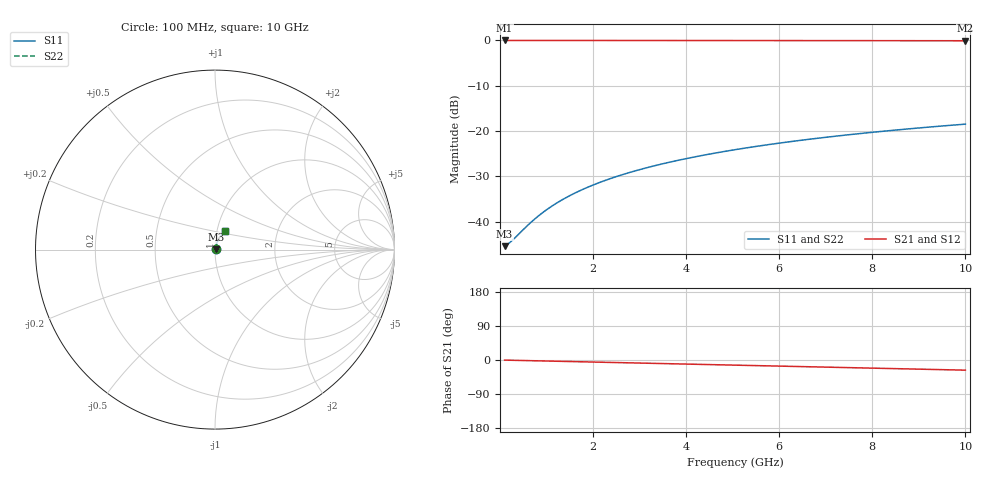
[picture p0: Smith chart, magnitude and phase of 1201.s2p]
# Hz S RI R 50.00
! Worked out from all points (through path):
!   100 points, 100 MHz to 10 GHz, reference 50 ohm
!   highest |S21| = -0.05 dB at 100 MHz (marker M1); lowest = -0.1 dB at 10 GHz (marker M2)
!   group delay of S21, straight-line fit = 7.45 ps
!   lowest |S11| = -45.4 dB at 100 MHz (marker M3), VSWR 1.01, Z = 50.5 + j0.123 ohm
!   |S11| at or under -10 dB: start of sweep to end of sweep
!   |S22| runs from -45.4 to -18.5 dB; largest |S21 - S12| = 0
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1e8  0.00521 0.00121  0.9948 -0.00467  0.9948 -0.00467  0.00521 0.00121
2e8  0.00526 0.00243  0.9947 -0.00934  0.9947 -0.00934  0.00526 0.00243
3e8  0.00532 0.00364  0.9946 -0.014  0.9946 -0.014  0.00532 0.00364
5e8  0.00544 0.00606  0.9944 -0.0233  0.9944 -0.0233  0.00544 0.00606
7e8  0.00561 0.00848  0.9941 -0.0327  0.9941 -0.0327  0.00561 0.00848
8e8  0.0057 0.00969  0.9939 -0.0373  0.9939 -0.0373  0.0057 0.00969
1e9  0.00593 0.0121  0.9934 -0.0467  0.9934 -0.0467  0.00593 0.0121
1.2e9  0.0062 0.0145  0.9929 -0.056  0.9929 -0.056  0.0062 0.0145
1.4e9  0.00651 0.0169  0.9923 -0.0653  0.9923 -0.0653  0.00651 0.0169
1.6e9  0.00687 0.0193  0.9915 -0.0746  0.9915 -0.0746  0.00687 0.0193
1.8e9  0.00727 0.0217  0.9907 -0.0839  0.9907 -0.0839  0.00727 0.0217
2.1e9  0.00795 0.0253  0.9893 -0.0978  0.9893 -0.0978  0.00795 0.0253
2.5e9  0.00901 0.03  0.9872 -0.1164  0.9872 -0.1164  0.00901 0.03
2.9e9  0.0103 0.0347  0.9846 -0.1349  0.9846 -0.1349  0.0103 0.0347
3.4e9  0.012 0.0405  0.9809 -0.1579  0.9809 -0.1579  0.012 0.0405
4.2e9  0.0155 0.0495  0.9738 -0.1944  0.9738 -0.1944  0.0155 0.0495
5.1e9  0.0201 0.0593  0.9641 -0.2352  0.9641 -0.2352  0.0201 0.0593
5.9e9  0.0249 0.0677  0.954 -0.2709  0.954 -0.2709  0.0249 0.0677
6.7e9  0.0304 0.0756  0.9424 -0.3062  0.9424 -0.3062  0.0304 0.0756
7.5e9  0.0363 0.0832  0.9296 -0.3409  0.9296 -0.3409  0.0363 0.0832
8.4e9  0.0437 0.0911  0.9135 -0.3792  0.9135 -0.3792  0.0437 0.0911
1e10  0.0584 0.1034  0.8809 -0.4452  0.8809 -0.4452  0.0584 0.1034
